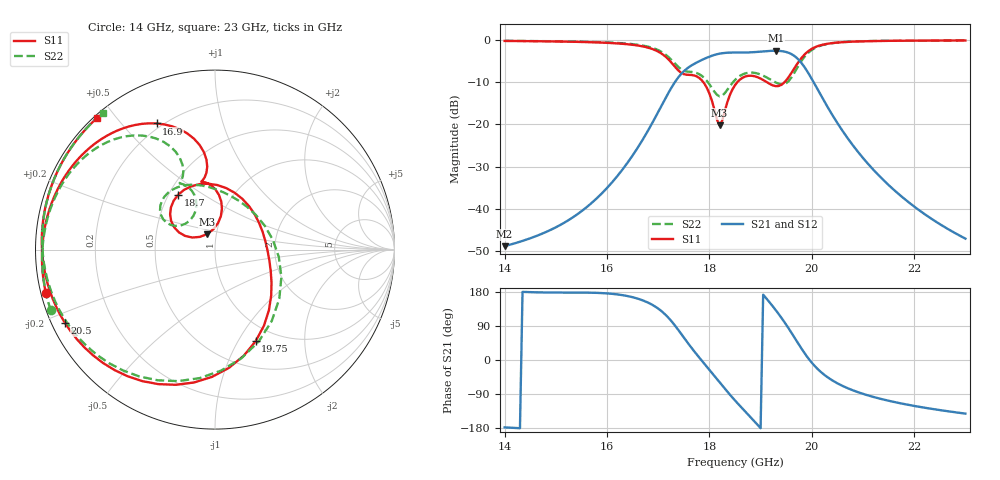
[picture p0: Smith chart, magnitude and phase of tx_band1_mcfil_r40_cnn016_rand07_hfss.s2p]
! Touchstone file exported from HFSS 3D Layout Design 2026.1.0
!  File:  D:/Work/SIM/ADS_AUTO_SIM/projects/RFSOC_RF/TX_Fillter.aedt
!  Generated:  03:48:27 AM Aug 31, 2026
!  Design:  TX_BAND1_MCFIL_R40_CNN016
!  Project:  TX_Fillter
# GHz S MA R 50.000000
! Terminal data exported
! Port[1] = Port1
! Port[2] = Port2
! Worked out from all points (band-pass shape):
!   181 points, 14 GHz to 23 GHz, reference 50 ohm
!   highest |S21| = -2.57 dB at 19.3 GHz (marker M1); lowest = -48.9 dB at 14 GHz (marker M2)
!   |S21| within 3 dB of the highest: 17.72 GHz to 19.8 GHz (2.086 GHz wide, 11.1 % of centre)
!   lowest |S11| = -20.3 dB at 18.2 GHz (marker M3), VSWR 1.21, Z = 45 + j7.81 ohm
!   |S11| at or under -10 dB: 17.88 GHz to 18.55 GHz (667 MHz wide, 3.66 % of centre); 19.12 GHz to 19.47 GHz (348.8 MHz wide, 1.81 % of centre)
!   |S22| runs from -13.4 to -0.1 dB; largest |S21 - S12| = 2.4e-14
!   S11 on the Smith chart (normalised r, x): 14 GHz: 0.01, -0.13; 16.9 GHz: 0.18, +0.62; 18.7 GHz: 0.56, +0.40; 19.75 GHz: 0.80, -1.19; 20.5 GHz: 0.04, -0.23; 23 GHz: 0.01, +0.45
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14  0.9728 -165.5  0.003602 -177.8  0.003602 -177.8  0.9754 -159.7
15.5  0.9462 164.0  0.009326 177.9  0.009326 177.9  0.9525 171.8
16.3  0.9002 141.2  0.029 171.2  0.029 171.2  0.9128 151.2
16.9  0.7745 114.9  0.1079 144.4  0.1079 144.4  0.8006 127.9
17  0.7273 109.2  0.1399 135.6  0.1399 135.6  0.7574 122.9
17.3  0.5031 95.4  0.2988 95.7  0.2988 95.7  0.5461 111.0
17.55  0.3874 101.2  0.4518 50.2  0.4518 50.2  0.4238 117.0
17.9  0.3048 85.8  0.5971 -9.7  0.5971 -9.7  0.3535 111.5
18.2  0.09702 117.7  0.6878 -59.3  0.6878 -59.3  0.2144 130.4
18.5  0.2912 146.9  0.7083 -106.8  0.7083 -106.8  0.3352 149.6
18.7  0.3683 123.8  0.7084 -136.0  0.7084 -136.0  0.4013 137.6
19  0.3483 79.6  0.7267 -179.9  0.7267 -179.9  0.3886 111.8
19.3  0.2831 20.6  0.7437 130.9  0.7437 130.9  0.3123 74.3
19.55  0.3642 -30.2  0.7025 83.0  0.7025 83.0  0.3267 9.7
19.75  0.5584 -66.1  0.5762 40.4  0.5762 40.4  0.508 -51.5
19.9  0.7094 -91.4  0.4349 10.2  0.4349 10.2  0.6752 -87.1
20  0.7842 -106.2  0.3444 -7.1  0.3444 -7.1  0.7612 -105.7
20.25  0.8875 -134.6  0.1848 -39.7  0.1848 -39.7  0.8815 -138.3
20.5  0.9303 -153.9  0.1035 -61.5  0.1035 -61.5  0.9303 -158.8
20.9  0.9589 -174.9  0.04736 -84.8  0.04736 -84.8  0.9611 -179.9
21.5  0.9751 164.3  0.0191 -107.5  0.0191 -107.5  0.9769 160.1
23  0.9849 131.8  0.004425 -141.5  0.004425 -141.5  0.9853 129.3
